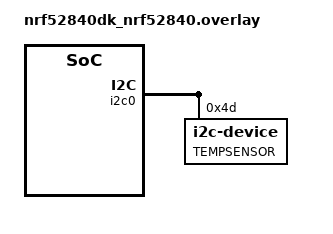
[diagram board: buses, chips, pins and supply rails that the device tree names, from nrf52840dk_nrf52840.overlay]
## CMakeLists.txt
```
# SPDX-License-Identifier: Apache-2.0

cmake_minimum_required(VERSION 3.20.0)
find_package(Zephyr REQUIRED HINTS $ENV{ZEPHYR_BASE})
project(threads)

target_sources(app PRIVATE src/main.c src/cmdproc.c
		PUBLIC src/cmdproc.h)
```

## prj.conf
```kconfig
CONFIG_PRINTK=y
CONFIG_HEAP_MEM_POOL_SIZE=256
CONFIG_ASSERT=y
CONFIG_GPIO=y
CONFIG_I2C=y
CONFIG_SERIAL=y
CONFIG_UART_ASYNC_API=y
```

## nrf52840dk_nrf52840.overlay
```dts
&i2c0 {
    tempsensor: tempsensor@4d{
        compatible = "i2c-device";
        reg = < 0x4d >;
        label = "TEMPSENSOR";
    };
};
```

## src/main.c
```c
#include <errno.h>
#include <zephyr/kernel.h>
#include <zephyr/sys/printk.h>
#include <zephyr/device.h>
#include <zephyr/drivers/i2c.h>
#include <zephyr/drivers/gpio.h>
#include <zephyr/drivers/uart.h>
#include <string.h>
#include "cmdproc.h"


/* Refer to dts file */
#define I2C0_NODE DT_NODELABEL(tempsensor)
#define GPIO0_NODE DT_NODELABEL(gpio0)
#define UART0_NODE DT_NODELABEL(uart0)

/* size of stack area used by each thread */
#define STACK_SIZE 1024

/* Priority used by each thread */
#define TASK_TEMP_PRIORITY 5
#define TASK_BUTTONS_PRIORITY 5
#define TASK_LEDS_PRIORITY 5
#define TASK_COMMAND_PRIORITY 5

/* UART Defines*/
#define SLEEP_TIME_MS 100
#define RECEIVE_BUFF_SIZE 10
#define RECEIVE_TIMEOUT 100
#define TX_TIMEOUT 100

/*Semaphores definition*/
K_SEM_DEFINE(temp_sem, 1, 1);
K_SEM_DEFINE(led_sem, 1, 1);
K_SEM_DEFINE(button_sem, 1, 1);
K_SEM_DEFINE(command_sem, 0, 1);

/* Create threads stack space*/
K_THREAD_STACK_DEFINE(task_temp_stack, STACK_SIZE);
K_THREAD_STACK_DEFINE(task_buttons_stack, STACK_SIZE);
K_THREAD_STACK_DEFINE(task_leds_stack, STACK_SIZE);
K_THREAD_STACK_DEFINE(task_command_stack,STACK_SIZE);

/* Variable for threads data*/
struct k_thread task_temp_data;
struct k_thread task_buttons_data;
struct k_thread task_leds_data;
struct k_thread task_command_data;

/* Threads ID*/
k_tid_t task_temp_tid;
k_tid_t task_buttons_tid;
k_tid_t task_leds_tid;
k_tid_t task_command_tid;

/* Threads prototypes */
void ButtonsUpdate(void *argA, void *argB, void *argC);
void TemperatureUpdate(void *argA, void *argB, void *argC);
void LedsUpdate(void *argA, void *argB, void *argC);
void Command_Process(void *argA, void *argB, void *argC);

/*Device structs*/
static const struct i2c_dt_spec dev_i2c = I2C_DT_SPEC_GET(I2C0_NODE);
static const struct device *gpio0_dev = DEVICE_DT_GET(GPIO0_NODE);
static const struct device *uart = DEVICE_DT_GET(UART0_NODE);

const uint8_t buttons_pins[] = {11, 12, 24, 25};
const uint8_t leds_pins[] = {13, 14, 15, 16};

const struct uart_config uart_cfg = {
	.baudrate = 115200,
	.parity = UART_CFG_PARITY_NONE,
	.stop_bits = UART_CFG_STOP_BITS_1,
	.data_bits = UART_CFG_DATA_BITS_8,
	.flow_ctrl = UART_CFG_FLOW_CTRL_NONE};

static uint8_t tx_buf[] = {"nRF Connect SDK Fundamentals Course\n\r"
						   "Press 1-3 on your keyboard to toggle LEDS 1-3 on your development kit\n\r"};

/* STEP 10.1.2 - Define the receive buffer */
static uint8_t rx_buf[MAX_CMDSTRING_SIZE] = {0};

int ret;
int output_period = 10; /* ms */
int input_temp_period = 1000;
int input_button_period = 10;

/*Real Time application database*/
struct RTDB RTDB;

static void uart_cb(const struct device *dev, struct uart_event *evt, void *user_data);

/* main */
void main(void)
{
	RTDB.led[0]=0;
	RTDB.led[1]=1;
	/* Check if uart is ready */
	if (!device_is_ready(uart))
	{
		printk("UART: Device is not ready.\n");
		return;
	}
	else
	{
		printk("UART: Device is ready!\n");
	}

	/* Configure UART */
	int err = uart_configure(uart, &uart_cfg);

	if (err == -ENOSYS)
	{
		return;
	}

	/* Define UART Callback function*/
	ret = uart_callback_set(uart, uart_cb, NULL);
	if (ret)
	{
		return;
	}

	/*Start UART transmition*/
	ret = uart_tx(uart, tx_buf, sizeof(tx_buf), SYS_FOREVER_MS);
	if (ret)
	{
		return;
	}
	
	/*Start UART receiver*/
	ret = uart_rx_enable(uart, rx_buf, sizeof rx_buf, RECEIVE_TIMEOUT);
	if (ret)
	{
		return;
	}

	/* Check  I2C device */
	if (!device_is_ready(dev_i2c.bus))
	{
		printk("I2C: Device is not ready.\n");
		return;
	}
	else
	{
		printk("I2C: Device is ready!\n");
	}

	/*Configure Buttons*/
	int i, ret;
	for (i = 0; i < sizeof(buttons_pins); i++)
	{
		ret = gpio_pin_configure(gpio0_dev, buttons_pins[i], GPIO_INPUT | GPIO_PULL_UP);
		if (ret < 0)
		{
			printk("Error: gpio_pin_configure failed for button %d/pin %d, error:%d\n\r", i + 1, buttons_pins[i], ret);
			return;
		}
		else
		{
			printk("Success: gpio_pin_configure for button %d/pin %d\n\r", i + 1, buttons_pins[i]);
		}
	}

	/*Configure Leds*/
	for (i = 0; i < sizeof(leds_pins); i++)
	{
		ret = gpio_pin_configure(gpio0_dev, leds_pins[i], GPIO_OUTPUT_ACTIVE | GPIO_PULL_UP);
		if (ret < 0)
		{
			printk("Error: gpio_pin_configure failed for led %d/pin %d, error:%d\n\r", i + 1, leds_pins[i], ret);
			return;
		}
		else
		{
			printk("Success: gpio_pin_configure for led %d/pin %d\n\r", i + 1, leds_pins[i]);
		}
	}

	/* Thread creation */
	
	task_temp_tid = k_thread_create(&task_temp_data, task_temp_stack,
									K_THREAD_STACK_SIZEOF(task_temp_stack), TemperatureUpdate,
									NULL, NULL, NULL, TASK_TEMP_PRIORITY, 0, K_NO_WAIT);

	task_buttons_tid = k_thread_create(&task_buttons_data, task_buttons_stack,
									   K_THREAD_STACK_SIZEOF(task_buttons_stack), ButtonsUpdate,
									   NULL, NULL, NULL, TASK_BUTTONS_PRIORITY, 0, K_NO_WAIT);
	
	task_leds_tid = k_thread_create(&task_leds_data, task_leds_stack,
									K_THREAD_STACK_SIZEOF(task_leds_stack), LedsUpdate,
									NULL, NULL, NULL, TASK_LEDS_PRIORITY, 0, K_NO_WAIT);

	task_command_tid = k_thread_create(&task_command_data, task_command_stack,
									K_THREAD_STACK_SIZEOF(task_command_stack), Command_Process,
									NULL, NULL, NULL, TASK_COMMAND_PRIORITY, 0, K_NO_WAIT);
	
	return;
}

void TemperatureUpdate(void *argA, void *argB, void *argC)
{
	/*updating data variable every 10ms*/
	uint8_t data = 0x00;
	int64_t start_time;

	printk("THREAD Temp Started!\n");
	/* infinite cycle */
	while (1)
	{
		start_time = k_uptime_get();

		ret = i2c_read_dt(&dev_i2c, &data, sizeof(data));

		k_sem_take(&temp_sem, K_FOREVER);

		RTDB.temp = data;

		k_sem_give(&temp_sem);

		/* Make thread sleep for the remaining of time before next check */
		if (k_uptime_get() - start_time < input_temp_period)
		{
			/*gets the most updated remaining time to sleep*/
			k_msleep(input_temp_period - (k_uptime_get() - start_time));
		}
		else
		{
			printk("Failed to meet requirement! Temp\n");
		}
	}
}

void ButtonsUpdate(void *argA, void *argB, void *argC)
{
	
	int64_t start_time;
	printk("Button started!\n");
	while (1)
	{
		start_time = k_uptime_get();

		k_sem_take(&button_sem, K_FOREVER);

		RTDB.but[0] = gpio_pin_get(gpio0_dev, buttons_pins[0]);
		RTDB.but[1] = gpio_pin_get(gpio0_dev, buttons_pins[1]);
		RTDB.but[2] = gpio_pin_get(gpio0_dev, buttons_pins[2]);
		RTDB.but[3] = gpio_pin_get(gpio0_dev, buttons_pins[3]);

		k_sem_give(&button_sem);

		/* Make thread sleep for the remaining of time before next check */
		if (k_uptime_get() - start_time < input_button_period)
		{
			/*gets the most updated remaining time to sleep*/
			k_msleep(input_button_period - (k_uptime_get() - start_time));
		}
		else
		{
			printk("Failed to meet requirement! Button\n");
		}
	}
}


void LedsUpdate(void *argA, void *argB, void *argC)
{
	int start_time = k_uptime_get();
	printk("LED started!\n");
	while (1)
	{
		start_time = k_uptime_get();

		k_sem_take(&led_sem, K_FOREVER);
		gpio_pin_set(gpio0_dev, leds_pins[0], RTDB.led[0]);
		gpio_pin_set(gpio0_dev, leds_pins[1], RTDB.led[1]);
		gpio_pin_set(gpio0_dev, leds_pins[2], RTDB.led[2]);
		gpio_pin_set(gpio0_dev, leds_pins[3], RTDB.led[3]);
		k_sem_give(&led_sem);

		if (k_uptime_get() - start_time < output_period)
		{
			/*gets the most updated remaining time to sleep*/
			k_msleep(output_period - (k_uptime_get() - start_time));
		}
		else
		{
			printk("Failed to meet requirement! LED\n");
			return;
		}
	}
}

/* Waits for uart to announce the end of the command by raising the flag*/
void Command_Process(void *argA, void *argB, void *argC)
{
	while(1)
	{
		k_sem_take(&command_sem, K_FOREVER);
		cmdProcessor();
	}

}

static void uart_cb(const struct device *dev, struct uart_event *evt, void *user_data)
{
	switch (evt->type) {

	case UART_RX_RDY:
		newCmdChar(evt->data.rx.buf[evt->data.rx.offset]);
		printk("%c",evt->data.rx.buf[evt->data.rx.offset]);
		if(evt->data.rx.buf[evt->data.rx.offset]=='!')
		{
			printk("\n");
			k_sem_give(&command_sem);
		}
	break;
	case UART_RX_DISABLED:
		uart_rx_enable(dev ,rx_buf,sizeof rx_buf,RECEIVE_TIMEOUT);
		break;
		
	default:
		break;
	}
}
```

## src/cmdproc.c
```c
#include <stdio.h>
#include <zephyr/sys/printk.h>
/* sems */
#include <zephyr/kernel.h>
#include "cmdproc.h"

/* database*/
extern struct RTDB RTDB;
/* External times */
extern int output_period; /* ms */
extern int input_temp_period;
extern int input_button_period;


/* Internal variables */
static char cmdString[MAX_CMDSTRING_SIZE];
static unsigned char cmdStringLen = 0;

int cmdProcessor(void)
{
	int i, j;
	int value=0;
	int index, state;
	
	/* Detect empty cmd string */
	if (cmdStringLen == 0)
	{
		resetCmdString();
		return EMPTY_STRING;
	}

	/* Find index of SOF */
	for (i = 0; i < cmdStringLen; i++)
	{
		/* if SOF found stores the position in i */
		if (cmdString[i] == SOF_SYM)
		{
			break;
		}
	}

	/* Send error in case SOF isn't found */
	if (cmdString[i] != SOF_SYM)
	{
		resetCmdString();
		return STR_FORMAT_ERR;
	}

	/* Find index of EOF */
	for (j = 0; j < cmdStringLen; j++)
	{
		/* is EOF fiund stores the position in j */
		if (cmdString[j] == EOF_SYM)
		{
			break;
		}
	}

	/* Send error in case EOF isn't found */
	if (cmdString[j] != EOF_SYM)
	{
		resetCmdString();
		return STR_FORMAT_ERR;
	}
	
	/* If a SOF was found look for commands */
	if (i < cmdStringLen)
	{
		switch (cmdString[i + 1])
		{
		/* In case of the D command for Leds is detected */
		case 'L':
			/* If there is not enough values */
			if ( (j - i + 1) != 5)
			{
				resetCmdString();
				return CS_ERR;
			}
			
			index = cmdString[i + 2] - '0';
			state = cmdString[i + 3] - '0';
			if ((index > 3 || index < 0) || (state > 1 || state < 0))
			{
				resetCmdString();
				return CS_ERR;
			}
			RTDB.led[index] = state;


			break;
			
		/* In case of the T command for temperature is detected */
		case 'T':
			if ( (j - i + 1) != 3)
			{
				resetCmdString();
				return CS_ERR;
			}
			
			printk("Temp= %d\n",RTDB.temp);
			break;
			
		/* In case of the B command for Button read is detected */
		case 'B':
			if ( (j - i + 1) != 4)
			{
				resetCmdString();
				return CS_ERR;
			}
			
			index = cmdString[i + 2] - '0';
			
			if (index > 3 || index < 0)
			{
				resetCmdString();
				return CS_ERR;
			}
			
			printk("BUT %d\n",RTDB.but[index]);
			break;
		/* In case of the no command is detected */
		case 'F':
			if((j - i + 1) != 8)
			{
				resetCmdString();
				return CS_ERR;
			}
			value=1000*(cmdString[i+3]-'0');
			value=value+100*(cmdString[i+4]-'0');
			value=value+10*(cmdString[i+5]-'0');
			value=value+(cmdString[i+6]-'0');
			switch(cmdString[i+2])
			{
				case 'T':
					input_temp_period = (1000 / value);
				break;
				case 'L':
					output_period = 1000 / value;
				break;
				case 'B':
					input_button_period = 1000 / value;
				break;
				default:
				break;
			}
			printk("\nnew freq=%d\n",value);
		default:
			resetCmdString();
			return INV_COMAND;
		}
	}
	resetCmdString();
	return OK;
}

int newCmdChar(unsigned char newChar)
{
	/* If cmd string not full add char to it */
	if (cmdStringLen < MAX_CMDSTRING_SIZE)
	{
		cmdString[cmdStringLen] = newChar;
		cmdStringLen += 1;

		return OK;
	}
	/* If cmd string full return error */
	return STR_FULL;
}

int newCmdStr(char *newCmd)
{
	int cnt = 0;
	int i, checksum = 0;

	/*String size*/
	for (i = 0; newCmd[i] != '\0'; i++)
	{
		cnt++;
	}

	/*String size error ( -1 to add checksum)*/
	if (cnt > (MAX_CMDSTRING_SIZE - 3))
	{
		return OVF_STR;
	}

	cmdString[0] = '#';

	/*checksum*/
	if (cnt > 1)
	{
		for (i = 0; i < cnt + 1; i++)
		{
			checksum = checksum + newCmd[i];
			cmdString[i + 1] = newCmd[i];
		}
		cmdString[cnt + 1] = (unsigned char)(checksum);
		cmdString[cnt + 2] = '!';
		cmdStringLen = cnt + 3;
	}
	else
	{
		for (i = 0; i < cnt + 1; i++)
		{
			cmdString[i + 1] = newCmd[i];
		}
		cmdString[cnt + 1] = '!';
		cmdStringLen = cnt + 2;
	}

	return OK;
}

int resetCmdString(void)
{
	cmdStringLen = 0;
	return OK;
}

int newCmdCharASCII(unsigned char newChar)
{
	/* If cmd string not full add char to it */
	if (cmdStringLen < MAX_CMDSTRING_SIZE)
	{
		int a = newChar % 10;
		int b = newChar / 10;

		/* if value in newChar is higher than 100 */
		if (b >= 10)
		{
			cmdString[cmdStringLen] = '0' + (b / 10);
			cmdStringLen++;
			cmdString[cmdStringLen] = '0' + (b % 10);
			cmdStringLen++;
			cmdString[cmdStringLen] = '0' + a;
			cmdStringLen++;
			return OK;
		}

		/* if value in newChar is between 10 and 99 */
		if (b != 0)
		{
			cmdString[cmdStringLen] = '0';
			cmdStringLen++;
			cmdString[cmdStringLen] = '0' + b;
			cmdStringLen++;
			cmdString[cmdStringLen] = '0' + a;
			cmdStringLen++;

			return OK;
		}

		/* if value in newChar is less than 10 */
		cmdString[cmdStringLen] = '0';
		cmdStringLen++;

		cmdString[cmdStringLen] = '0';
		cmdStringLen++;

		cmdString[cmdStringLen] = '0' + a;
		cmdStringLen++;

		return OK;
	}
	/* If cmd string full return error */
	return STR_FULL;
}

int stringDebug(void)
{

	if (cmdStringLen == 0)
		return EMPTY_STRING;

	printf("%c", cmdString[0]);
	printf("%c", cmdString[1]);
	int i;
	for (i = 0; i < cmdStringLen - 1; i++)
	{
		printf("%c", cmdString[i + 2]);
		if ((i + 1) % 3 == 0)
			printf(" ");
	}
	printf("\n");
	return OK;
}

unsigned char checkSumCalc(void)
{
	int i;
	char sum;
	for (i = 0; i < cmdStringLen; i++)
	{
		sum += cmdString[i];
	}
	return sum;
}
```

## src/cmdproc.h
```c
#ifndef __CMD_PROC_H_
#define __CMD_PROC_H_

#define MAX_CMDSTRING_SIZE 15 /* Maximum size of the command string */ 
#define SOF_SYM '#'	          /* Start of Frame Symbol */
#define EOF_SYM '!'           /* End of Frame Symbol */

/**\file cmdproc.h
 *
 * */



struct RTDB
{
	int led[4];
	int but[4];
	int temp;
};

/** \brief Enum with error codes
 * 
 *  0: Executed function with success;		                                                          	    
 * -1: empty string;          
 * -2: an invalid command was found;                         
 * -3: a CS error is detected (command not executed);        
 * -4: string format is wrong;                               
 * -5: string size is full and a new char is inputted; 						
 * -6: wrong CheckSum value; 	
 * -7: String to long to be command;
 * 							*/
 
enum error{ 	OVF_STR = -7,
		ERR_SUM,			/* -6 */	
		STR_FULL,			/* -5 */
		STR_FORMAT_ERR,		/* -4 */
		CS_ERR,				/* -3 */
		INV_COMAND,			/* -2 */
		EMPTY_STRING,		/* -1 */
		OK};				/*  0 */
		

/* Function prototypes */
/**
 * \brief Function responsible for processing the command string
 * 
 * Comands\n
 *   D: Atributs values to digital outouts;\n
 *   
 * \returns 0: OK;\n
 *  -1:Empty String;\n
 *  -2:Invalid Cmd;\n
 *  -3:Cmd with errors;\n
 *  -4: String format wrong;\n
 *  -6: Error Checksum; 
 */
int cmdProcessor(void);

/**
 * \brief function responsible for insert a new char in command string
 * \param char new character
 * \returns 0: OK -5: string full
 */
int newCmdChar(unsigned char newChar);

/**
 * \brief Function responsible for reset command string
 * \returns 0: OK
 */
int resetCmdString(void);

/**
 * \brief Function responsible for insert a string in command string
 * \param string to be turned into a command
 * \returns 0: OK\n -7: string too big 
 */
int newCmdStr(char* newCmd);


/**
 * \brief Converts value in ASCII char and writes it in command string
 * \param char new character
 * \returns 0: OK -5: string full
 */
int newCmdCharASCII(unsigned char newChar);

/**
 * \brief Prints command in cmdString in ascii for debug
 * \returns 0: OK\n -1: Empty string
 */
int stringDebug(void);

/**
 * \brief Calculates checksum
 * \returns Check Sum
 */
unsigned char checkSumCalc(void);

#endif
```
